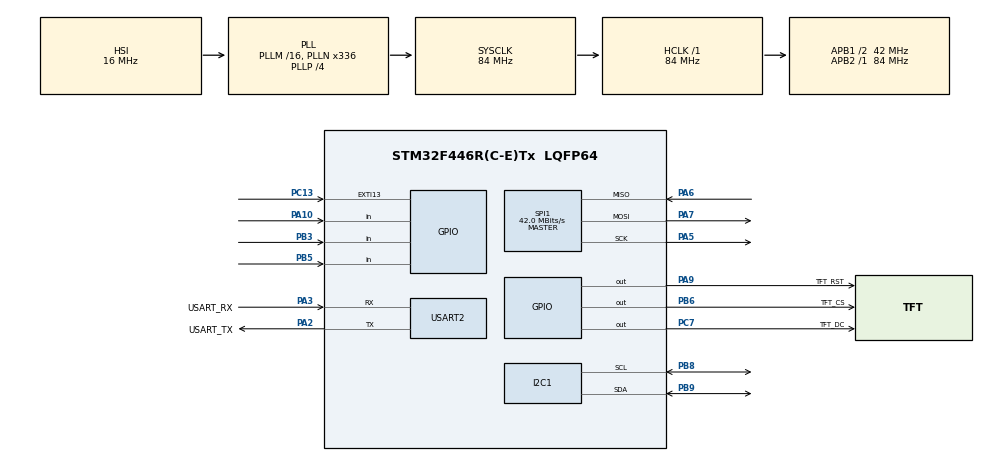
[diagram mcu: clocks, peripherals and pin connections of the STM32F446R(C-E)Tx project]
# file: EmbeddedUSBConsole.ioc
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Mcu.Family=STM32F4
Mcu.Name=STM32F446R(C-E)Tx
Mcu.Package=LQFP64
NUCLEO-F446RE.BUTTON=1
NUCLEO-F446RE.LD1=false
NVIC.EXTI15_10_IRQn=true\:0\:0\:false\:false\:true\:false\:true\:true
NVIC.PriorityGroup=NVIC_PRIORITYGROUP_0
NVIC.USART2_IRQn=true\:0\:0\:false\:false\:true\:true\:true\:true
PA10.GPIO_PuPd=GPIO_PULLUP
PA10.Signal=GPIO_Input
PA13.GPIO_Label=TMS
PA13.Signal=SYS_JTMS-SWDIO
PA14.GPIO_Label=TCK
PA14.Signal=SYS_JTCK-SWCLK
PA2.GPIO_Label=USART_TX
PA2.Mode=Asynchronous
PA2.Signal=USART2_TX
PA3.GPIO_Label=USART_RX
PA3.Mode=Asynchronous
PA3.Signal=USART2_RX
PA5.Mode=Full_Duplex_Master
PA5.Signal=SPI1_SCK
PA6.Mode=Full_Duplex_Master
PA6.Signal=SPI1_MISO
PA7.Mode=Full_Duplex_Master
PA7.Signal=SPI1_MOSI
PA9.GPIO_Label=TFT_RST
PA9.PinState=GPIO_PIN_SET
PA9.Signal=GPIO_Output
PB3.GPIO_PuPd=GPIO_PULLUP
PB3.Signal=GPIO_Input
PB5.GPIO_PuPd=GPIO_PULLUP
PB5.Signal=GPIO_Input
PB6.GPIO_Label=TFT_CS
PB6.PinState=GPIO_PIN_SET
PB6.Signal=GPIO_Output
PB8.Mode=I2C
PB8.Signal=I2C1_SCL
PB9.Mode=I2C
PB9.Signal=I2C1_SDA
PC13.Signal=GPXTI13
PC14-OSC32_IN.Signal=RCC_OSC32_IN
PC15-OSC32_OUT.Signal=RCC_OSC32_OUT
PC7.GPIO_Label=TFT_DC
PC7.PinState=GPIO_PIN_RESET
PC7.Signal=GPIO_Output
PH0-OSC_IN.Signal=RCC_OSC_IN
PH1-OSC_OUT.Signal=RCC_OSC_OUT
ProjectManager.HeapSize=0x200
ProjectManager.StackSize=0x400
ProjectManager.TargetToolchain=STM32CubeIDE
RCC.AHBFreq_Value=84000000
RCC.APB1CLKDivider=RCC_HCLK_DIV2
RCC.APB1Freq_Value=42000000
RCC.APB1TimFreq_Value=84000000
RCC.APB2Freq_Value=84000000
RCC.APB2TimFreq_Value=84000000
RCC.CortexFreq_Value=84000000
RCC.FLatency-AdvancedSettings=FLASH_LATENCY_2
RCC.HCLKFreq_Value=84000000
RCC.HSE_VALUE=8000000
RCC.HSI_VALUE=16000000
RCC.LSE_VALUE=32768
RCC.PLLN=336
RCC.PLLP=RCC_PLLP_DIV4
RCC.SYSCLKFreq_VALUE=84000000
RCC.SYSCLKSource=RCC_SYSCLKSOURCE_PLLCLK
RCC.USBFreq_Value=168000000
RCC.VCOOutputFreq_Value=336000000
SPI1.CalculateBaudRate=42.0 MBits/s
SPI1.Direction=SPI_DIRECTION_2LINES
SPI1.Mode=SPI_MODE_MASTER
SPI1.VirtualType=VM_MASTER
USART2.VirtualMode=VM_ASYNC
VP_NUCLEO-F446RE_VS_BSP_COMMON.Mode=COMMON
board=NUCLEO-F446RE

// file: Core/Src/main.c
/* USER CODE BEGIN Header */
/**
  ******************************************************************************
  * @file           : main.c
  * @brief          : Main program body
  ******************************************************************************
  * @attention
  *
  * Copyright (c) 2026 STMicroelectronics.
  * All rights reserved.
  *
  * This software is licensed under terms that can be found in the LICENSE file
  * in the root directory of this software component.
  * If no LICENSE file comes with this software, it is provided AS-IS.
  *
  ******************************************************************************
  */
/* USER CODE END Header */
#include "main.h"

/* USER CODE BEGIN Includes */
#include "ili9341.h"
#include "bmp180.h"
#include "sunset_img.h"
#include <string.h>
#include <stdlib.h>
#include <stdio.h>
/* USER CODE END Includes */

/* USER CODE BEGIN PTD */

/* Every screen the app can be on. Add more here as the project grows
 * (e.g. SCREEN_BOOT, SCREEN_ANIMATION, SCREEN_NOTIFICATIONS...). */
typedef enum
{
    SCREEN_MENU,
    SCREEN_APPLICATIONS,
    SCREEN_ENVIRONMENT,
    SCREEN_COMPUTER,
	SCREEN_ABOUT
} AppScreen_t;

/* One row in the menu: the title(unchangeable) + what bg screen it goes to */
typedef struct
{
    const char *label;
    AppScreen_t targetScreen;
} MenuItem_t;

/* USER CODE END PTD */

/* USER CODE BEGIN PD */

#define MENU_START_Y   60 //Names constants for layout
#define MENU_ROW_H     28
#define MENU_ARROW_X   16
#define MENU_LABEL_X   40
#define MENU_TEXT_SCALE 2

/* USER CODE END PD */

I2C_HandleTypeDef hi2c1;

SPI_HandleTypeDef hspi1;

UART_HandleTypeDef huart2;

/* USER CODE BEGIN PV */

volatile uint32_t tft_debug_step = 0;
volatile HAL_StatusTypeDef tft_spi_status = HAL_OK;

uint8_t lastCLKState;

static const MenuItem_t menuItems[] =
{
	{ "DEV TOOLS", SCREEN_APPLICATIONS },
	{ "ENVIRONMENT",  SCREEN_ENVIRONMENT  },
	{ "COMPUTER",     SCREEN_COMPUTER     },
    { "ABOUT",     SCREEN_ABOUT     },
};
#define MENU_ITEM_COUNT (sizeof(menuItems) / sizeof(menuItems[0]))

static volatile AppScreen_t currentScreen = SCREEN_MENU;
static volatile uint8_t needsFullRedraw = 1;   /* screen changed entirely   */
static volatile uint8_t menuCursorMoved = 0;   /* only the cursor moved    */
static uint8_t menuCursor = 0;
static uint8_t previousMenuCursor = 0;

#define UART_LINE_MAX 32 //UART Computer globals

uint8_t uartRxByte;
char uartLineBuf[UART_LINE_MAX];
uint8_t uartLineIdx = 0;

volatile char uartLineComplete[UART_LINE_MAX];
volatile uint8_t uartLineReady = 0;

typedef struct
{
    int cpu;
    int ram;
} ComputerStats_t;

volatile ComputerStats_t computerStats = { 0, 0 };
volatile uint8_t computerNeedsUpdate = 0;

typedef enum { APP_BUILD, APP_FLASH, APP_OPEN_CODE, APP_GIT_STATUS, APP_COUNT } AppChoice_t;

static const char *appLabels[APP_COUNT] = { "BUILD", "FLASH", "OPEN CODE", "GIT STATUS" };
static const char *appCommands[APP_COUNT] = { "ACTION:BUILD\n", "ACTION:FLASH\n", "ACTION:OPEN_CODE\n", "ACTION:GIT_STATUS\n" };

#define APPS_START_Y 60
#define APPS_ROW_H   28
#define APPS_ARROW_X 16
#define APPS_LABEL_X 40

uint8_t appsCursor = 0;
uint8_t previousAppsCursor = 0;
volatile uint8_t appsCursorMoved = 0;

static float envTemperature = 0.0f;
static float envPressure = 0.0f;
static uint8_t envSensorOk = 0;

/* USER CODE END PV */

void SystemClock_Config(void);
static void MX_GPIO_Init(void);
static void MX_SPI1_Init(void);
static void MX_USART2_UART_Init(void);
static void MX_I2C1_Init(void);
/* USER CODE BEGIN PFP */

static void DrawMenuArrow(uint8_t index, uint8_t show);
static void RenderMenuScreen(void);
static void RenderPlaceholderScreen(const char *title);
static void RenderCurrentScreen(void);
static void RenderComputerScreen(void);
static void UpdateComputerValues(void);
static void ParseUartLine(const char *line);

static void DrawAppsArrow(uint8_t index, uint8_t show);
static void RenderApplicationsScreen(void);
static void RenderEnvironmentScreen(void);
static void SendUartCommand(const char *cmd);

/* USER CODE END PFP */

/* USER CODE BEGIN 0 */

/* Draws or erases the ">" cursor next to menu item `index`.
 * show=1 draws the arrow, show=0 draws a blank space over it instead
 * (this is how we "erase" the old arrow position without touching
 * anything else on screen). */
static void DrawMenuArrow(uint8_t index, uint8_t show)
{
    uint16_t y = MENU_START_Y + (index * MENU_ROW_H);
    char glyph = show ? '>' : ' ';

    ILI9341_DrawChar(MENU_ARROW_X, y, glyph, ILI9341_YELLOW, ILI9341_BLACK, MENU_TEXT_SCALE);
}

/* Full redraw of the menu screen: background image, every label, and
 * the arrow at whatever menuCursor currently is. Only called when we
 * just switched INTO the menu screen -- not on every cursor move,
 * since that would repaint the whole background every time you turn
 * the knob and cause visible flicker. */
static void RenderMenuScreen(void)
{
    ILI9341_DrawImageUpscaled2x(sunset_img, sunset_img_WIDTH, sunset_img_HEIGHT);

    for (uint8_t i = 0; i < MENU_ITEM_COUNT; i++)
    {
        uint16_t y = MENU_START_Y + (i * MENU_ROW_H);
        ILI9341_DrawString(MENU_LABEL_X, y, menuItems[i].label, ILI9341_WHITE, ILI9341_BLACK, MENU_TEXT_SCALE);
    }

    DrawMenuArrow(menuCursor, 1);
    previousMenuCursor = menuCursor;
}

/* Placeholder for the screens the menu leads to. Replace this with
 * real dashboard/settings/about rendering later -- for now it just
 * proves the state machine + navigation actually works end to end. */
static void RenderPlaceholderScreen(const char *title)
{
    ILI9341_FillScreen(ILI9341_BLACK);
    ILI9341_DrawString(20, 20, title, ILI9341_WHITE, ILI9341_BLACK, MENU_TEXT_SCALE);
    ILI9341_DrawString(20, 60, "PRESS USER BTN", ILI9341_GRAY, ILI9341_BLACK, 1);
    ILI9341_DrawString(20, 75, "TO GO BACK", ILI9341_GRAY, ILI9341_BLACK, 1);
}

/* Draws `text`, automatically breaking it into multiple lines so it
 * never runs off the right edge of the screen. Breaks at the last
 * space before the line limit, so it doesn't cut words in half. */
static void DrawWrappedText(uint16_t x, uint16_t y, uint16_t lineHeight,
                             const char *text, uint16_t fgColor, uint16_t bgColor,
                             uint8_t scale, uint8_t maxCharsPerLine)
{
    char lineBuf[40];
    uint16_t curY = y;
    const char *p = text;

    while (*p)
    {
        const char *scan = p;
        const char *lastSpace = NULL;
        uint8_t lineLen = 0;

        while (*scan && lineLen < maxCharsPerLine)
        {
            if (*scan == ' ') lastSpace = scan;
            scan++;
            lineLen++;
        }

        const char *lineEnd;
        if (*scan == '\0')       lineEnd = scan;
        else if (lastSpace)      lineEnd = lastSpace;
        else                     lineEnd = scan;

        uint8_t copyLen = (uint8_t)(lineEnd - p);
        if (copyLen > sizeof(lineBuf) - 1) copyLen = sizeof(lineBuf) - 1;
        memcpy(lineBuf, p, copyLen);
        lineBuf[copyLen] = '\0';

        ILI9341_DrawString(x, curY, lineBuf, fgColor, bgColor, scale);
        curY += lineHeight;

        p = (*lineEnd == ' ') ? lineEnd + 1 : lineEnd;
    }
}

static void RenderAboutScreen(void)
{
    ILI9341_FillScreen(ILI9341_BLACK);
    ILI9341_DrawString(20, 20, "ABOUT", ILI9341_YELLOW, ILI9341_BLACK, 2);

    DrawWrappedText(10, 55, 12,
        "This project is an Embedded USB console, it allows you to "
        "control your applications, see your computers data, and "
        "get environment data. Hope you like it!",
        ILI9341_WHITE, ILI9341_BLACK, 1, 27);

    ILI9341_DrawString(10, 290, "PRESS USER BTN TO GO BACK", ILI9341_GRAY, ILI9341_BLACK, 1);
}

static void SendUartCommand(const char *cmd)
{
    HAL_UART_Transmit(&huart2, (uint8_t *)cmd, strlen(cmd), HAL_MAX_DELAY);
}

static void DrawAppsArrow(uint8_t index, uint8_t show)
{
    uint16_t y = APPS_START_Y + (index * APPS_ROW_H);
    char glyph = show ? '>' : ' ';
    ILI9341_DrawChar(APPS_ARROW_X, y, glyph, ILI9341_YELLOW, ILI9341_BLACK, MENU_TEXT_SCALE);
}

static void RenderApplicationsScreen(void)
{
    ILI9341_FillScreen(ILI9341_BLACK);
    ILI9341_DrawString(20, 20, "DEV TOOLS", ILI9341_YELLOW, ILI9341_BLACK, 2);

    for (uint8_t i = 0; i < APP_COUNT; i++)
    {
        uint16_t y = APPS_START_Y + (i * APPS_ROW_H);
        ILI9341_DrawString(APPS_LABEL_X, y, appLabels[i], ILI9341_WHITE, ILI9341_BLACK, MENU_TEXT_SCALE);
    }

    DrawAppsArrow(appsCursor, 1);
    previousAppsCursor = appsCursor;

    ILI9341_DrawString(10, 290, "PRESS USER BTN TO GO BACK", ILI9341_GRAY, ILI9341_BLACK, 1);
}

/* Called once per loop iteration. Decides whether anything actually
 * needs to be drawn this pass, and if so, draws the minimum necessary
 * -- a full redraw on screen change, or just the arrow on cursor move. */
static void RenderCurrentScreen(void)
{
    if (needsFullRedraw)
    {
        switch (currentScreen)
        {

        case SCREEN_MENU: //Updated Menu
            RenderMenuScreen();
            break;
        case SCREEN_APPLICATIONS:
            RenderApplicationsScreen();
            break;
        case SCREEN_ENVIRONMENT:
            RenderEnvironmentScreen();
            break;
        case SCREEN_COMPUTER:
        	RenderComputerScreen();
        	break;
        case SCREEN_ABOUT:
            RenderAboutScreen();
            break;
        }
        needsFullRedraw = 0;
        menuCursorMoved = 0;
    }
    else if (menuCursorMoved && currentScreen == SCREEN_MENU)
    {
        DrawMenuArrow(previousMenuCursor, 0);
        DrawMenuArrow(menuCursor, 1);
        previousMenuCursor = menuCursor;
        menuCursorMoved = 0;
    }

    else if (computerNeedsUpdate && currentScreen == SCREEN_COMPUTER)
    {
        UpdateComputerValues();
        computerNeedsUpdate = 0;
    }

//add one of these for each menu screen
    else if (appsCursorMoved && currentScreen == SCREEN_APPLICATIONS)
    {
        DrawAppsArrow(previousAppsCursor, 0);
        DrawAppsArrow(appsCursor, 1);
        previousAppsCursor = appsCursor;
        appsCursorMoved = 0;
    }
}

static void ParseUartLine(const char *line)
{
    if (strncmp(line, "CPU:", 4) == 0)
    {
        computerStats.cpu = atoi(line + 4);
        computerNeedsUpdate = 1;
    }
    else if (strncmp(line, "RAM:", 4) == 0)
    {
        computerStats.ram = atoi(line + 4);
        computerNeedsUpdate = 1;
    }
}

//Displays real time CPU and RAM data
static void UpdateComputerValues(void)
{
    char buf[20];

    snprintf(buf, sizeof(buf), "CPU: %3d%%", computerStats.cpu);
    ILI9341_DrawString(20, 60, buf, ILI9341_WHITE, ILI9341_BLACK, 2);

    snprintf(buf, sizeof(buf), "RAM: %3d%%", computerStats.ram);
    ILI9341_DrawString(20, 90, buf, ILI9341_WHITE, ILI9341_BLACK, 2);
}

static void RenderComputerScreen(void)
{
    ILI9341_FillScreen(ILI9341_BLACK);
    ILI9341_DrawString(20, 20, "COMPUTER", ILI9341_YELLOW, ILI9341_BLACK, 2);
    UpdateComputerValues();
    ILI9341_DrawString(10, 290, "PRESS USER BTN TO GO BACK", ILI9341_GRAY, ILI9341_BLACK, 1);
}

static void RenderEnvironmentScreen(void)
{
    ILI9341_FillScreen(ILI9341_BLACK);

    ILI9341_DrawString(
        20, 20,
        "ENVIRONMENT",
        ILI9341_YELLOW,
        ILI9341_BLACK,
        2
    );

    char buf[24];

    /* Initialization already failed at startup */
    if (!envSensorOk)
    {
        ILI9341_DrawString(
            20, 60,
            "BMP180 NO ACK",
            ILI9341_RED,
            ILI9341_BLACK,
            2
        );

        ILI9341_DrawString(
            10, 290,
            "PRESS USER BTN TO GO BACK",
            ILI9341_GRAY,
            ILI9341_BLACK,
            1
        );

        return;
    }

    HAL_StatusTypeDef status =
        BMP180_ReadData(&envTemperature, &envPressure);

    if (status == HAL_OK)
    {
        snprintf(
            buf,
            sizeof(buf),
            "TEMP: %.1f C",
            envTemperature
        );

        ILI9341_DrawString(
            20, 60,
            buf,
            ILI9341_WHITE,
            ILI9341_BLACK,
            2
        );

        snprintf(
            buf,
            sizeof(buf),
            "PRES: %.0f Pa",
            envPressure
        );

        ILI9341_DrawString(
            20, 90,
            buf,
            ILI9341_WHITE,
            ILI9341_BLACK,
            2
        );
    }
    else
    {
        ILI9341_DrawString(
            20, 60,
            "BMP180 READ ERROR",
            ILI9341_RED,
            ILI9341_BLACK,
            2
        );
    }

    ILI9341_DrawString(
        10, 290,
        "PRESS USER BTN TO GO BACK",
        ILI9341_GRAY,
        ILI9341_BLACK,
        1
    );
}
/* USER CODE END 0 */

int main(void)
{

  /* MCU Configuration--------------------------------------------------------*/

  /* Reset of all peripherals, Initializes the Flash interface and the Systick. */
  HAL_Init();

  /* Configure the system clock */
  SystemClock_Config();

  /* Initialize all configured peripherals */
  MX_GPIO_Init();
  MX_SPI1_Init();
  MX_USART2_UART_Init();
  MX_I2C1_Init();
  /* USER CODE BEGIN 2 */

  lastCLKState = HAL_GPIO_ReadPin(GPIOA, GPIO_PIN_10);

  HAL_UART_Receive_IT(&huart2, &uartRxByte, 1);

  tft_debug_step = 1;
  ILI9341_Init();
  //MX_I2C1_Init();
  tft_debug_step = 2;

  envSensorOk = (BMP180_Init() == HAL_OK);

  /* USER CODE END 2 */

  /* Initialize USER push-button, will be used to trigger an interrupt each time it's pressed.*/
  BSP_PB_Init(BUTTON_USER, BUTTON_MODE_EXTI);

  /* Infinite loop */
  /* USER CODE BEGIN WHILE */

  while (1)
  {
    uint8_t currentCLKState =
        HAL_GPIO_ReadPin(GPIOA, GPIO_PIN_10);

    /* Detect encoder rotation */
    if (currentCLKState != lastCLKState)
    {
      if (currentCLKState == GPIO_PIN_RESET)
      {
        if (currentScreen == SCREEN_MENU)
        {
          if (HAL_GPIO_ReadPin(GPIOB, GPIO_PIN_3) != currentCLKState)
          {
            /* Clockwise -> move cursor down */
            if (menuCursor < MENU_ITEM_COUNT - 1)
            {
              menuCursor++;
              menuCursorMoved = 1;
            }
          }
          else
          {
            /* Counter-clockwise -> move cursor up */
            if (menuCursor > 0)
            {
              menuCursor--;
              menuCursorMoved = 1;
            }
          }
        }

        else if (currentScreen == SCREEN_APPLICATIONS)
        {
            if (HAL_GPIO_ReadPin(GPIOB, GPIO_PIN_3) != currentCLKState)
            {
                if (appsCursor < APP_COUNT - 1)
                {
                    appsCursor++;
                    appsCursorMoved = 1;
                }
            }
            else
            {
                if (appsCursor > 0)
                {
                    appsCursor--;
                    appsCursorMoved = 1;
                }
            }
        }

      }

      lastCLKState = currentCLKState;
    }

    /* Detect encoder button press -> select current menu item */
    if (HAL_GPIO_ReadPin(GPIOB, GPIO_PIN_5) == GPIO_PIN_RESET)
    {
      HAL_Delay(20);

      if (HAL_GPIO_ReadPin(GPIOB, GPIO_PIN_5) == GPIO_PIN_RESET)
      {
        if (currentScreen == SCREEN_MENU)
        {
          currentScreen = menuItems[menuCursor].targetScreen;
          needsFullRedraw = 1;
        }

        else if (currentScreen == SCREEN_APPLICATIONS)
        {
            SendUartCommand(appCommands[appsCursor]);
        }

        while (HAL_GPIO_ReadPin(GPIOB, GPIO_PIN_5) == GPIO_PIN_RESET)
        {
          /* Wait for release */
        }

        HAL_Delay(20);
      }
    }

    if (uartLineReady)
    {
        ParseUartLine((const char *)uartLineComplete);
        uartLineReady = 0;
    }
    /* Draw whatever actually changed this pass, if anything did */
    RenderCurrentScreen();

    /* USER CODE END WHILE */

  }
}

void SystemClock_Config(void)
{
  RCC_OscInitTypeDef RCC_OscInitStruct = {0};
  RCC_ClkInitTypeDef RCC_ClkInitStruct = {0};

  /** Configure the main internal regulator output voltage
  */
  __HAL_RCC_PWR_CLK_ENABLE();
  __HAL_PWR_VOLTAGESCALING_CONFIG(PWR_REGULATOR_VOLTAGE_SCALE3);

  /** Initializes the RCC Oscillators according to the specified parameters
  * in the RCC_OscInitTypeDef structure.
  */
  RCC_OscInitStruct.OscillatorType = RCC_OSCILLATORTYPE_HSI;
  RCC_OscInitStruct.HSIState = RCC_HSI_ON;
  RCC_OscInitStruct.HSICalibrationValue = RCC_HSICALIBRATION_DEFAULT;
  RCC_OscInitStruct.PLL.PLLState = RCC_PLL_ON;
  RCC_OscInitStruct.PLL.PLLSource = RCC_PLLSOURCE_HSI;
  RCC_OscInitStruct.PLL.PLLM = 16;
  RCC_OscInitStruct.PLL.PLLN = 336;
  RCC_OscInitStruct.PLL.PLLP = RCC_PLLP_DIV4;
  RCC_OscInitStruct.PLL.PLLQ = 2;
  RCC_OscInitStruct.PLL.PLLR = 2;
  if (HAL_RCC_OscConfig(&RCC_OscInitStruct) != HAL_OK)
  {
    Error_Handler();
  }

  /** Initializes the CPU, AHB and APB buses clocks
  */
  RCC_ClkInitStruct.ClockType = RCC_CLOCKTYPE_HCLK|RCC_CLOCKTYPE_SYSCLK
                              |RCC_CLOCKTYPE_PCLK1|RCC_CLOCKTYPE_PCLK2;
  RCC_ClkInitStruct.SYSCLKSource = RCC_SYSCLKSOURCE_PLLCLK;
  RCC_ClkInitStruct.AHBCLKDivider = RCC_SYSCLK_DIV1;
  RCC_ClkInitStruct.APB1CLKDivider = RCC_HCLK_DIV2;
  RCC_ClkInitStruct.APB2CLKDivider = RCC_HCLK_DIV1;

  if (HAL_RCC_ClockConfig(&RCC_ClkInitStruct, FLASH_LATENCY_2) != HAL_OK)
  {
    Error_Handler();
  }
}

static void MX_I2C1_Init(void)
{

  hi2c1.Instance = I2C1;
  hi2c1.Init.ClockSpeed = 100000;
  hi2c1.Init.DutyCycle = I2C_DUTYCYCLE_2;
  hi2c1.Init.OwnAddress1 = 0;
  hi2c1.Init.AddressingMode = I2C_ADDRESSINGMODE_7BIT;
  hi2c1.Init.DualAddressMode = I2C_DUALADDRESS_DISABLE;
  hi2c1.Init.OwnAddress2 = 0;
  hi2c1.Init.GeneralCallMode = I2C_GENERALCALL_DISABLE;
  hi2c1.Init.NoStretchMode = I2C_NOSTRETCH_DISABLE;
  if (HAL_I2C_Init(&hi2c1) != HAL_OK)
  {
    Error_Handler();
  }

}

static void MX_SPI1_Init(void)
{

  /* SPI1 parameter configuration*/
  hspi1.Instance = SPI1;
  hspi1.Init.Mode = SPI_MODE_MASTER;
  hspi1.Init.Direction = SPI_DIRECTION_2LINES;
  hspi1.Init.DataSize = SPI_DATASIZE_8BIT;
  hspi1.Init.CLKPolarity = SPI_POLARITY_LOW;
  hspi1.Init.CLKPhase = SPI_PHASE_1EDGE;
  hspi1.Init.NSS = SPI_NSS_SOFT;
  hspi1.Init.BaudRatePrescaler = SPI_BAUDRATEPRESCALER_2;
  hspi1.Init.FirstBit = SPI_FIRSTBIT_MSB;
  hspi1.Init.TIMode = SPI_TIMODE_DISABLE;
  hspi1.Init.CRCCalculation = SPI_CRCCALCULATION_DISABLE;
  hspi1.Init.CRCPolynomial = 10;
  if (HAL_SPI_Init(&hspi1) != HAL_OK)
  {
    Error_Handler();
  }

}

static void MX_USART2_UART_Init(void)
{

  huart2.Instance = USART2;
  huart2.Init.BaudRate = 115200;
  huart2.Init.WordLength = UART_WORDLENGTH_8B;
  huart2.Init.StopBits = UART_STOPBITS_1;
  huart2.Init.Parity = UART_PARITY_NONE;
  huart2.Init.Mode = UART_MODE_TX_RX;
  huart2.Init.HwFlowCtl = UART_HWCONTROL_NONE;
  huart2.Init.OverSampling = UART_OVERSAMPLING_16;
  if (HAL_UART_Init(&huart2) != HAL_OK)
  {
    Error_Handler();
  }

}

static void MX_GPIO_Init(void)
{
  GPIO_InitTypeDef GPIO_InitStruct = {0};

  /* GPIO Ports Clock Enable */
  __HAL_RCC_GPIOC_CLK_ENABLE();
  __HAL_RCC_GPIOH_CLK_ENABLE();
  __HAL_RCC_GPIOA_CLK_ENABLE();
  __HAL_RCC_GPIOB_CLK_ENABLE();

  /*Configure GPIO pin Output Level */
  HAL_GPIO_WritePin(TFT_DC_GPIO_Port, TFT_DC_Pin, GPIO_PIN_RESET);

  /*Configure GPIO pin Output Level */
  HAL_GPIO_WritePin(TFT_RST_GPIO_Port, TFT_RST_Pin, GPIO_PIN_SET);

  /*Configure GPIO pin Output Level */
  HAL_GPIO_WritePin(TFT_CS_GPIO_Port, TFT_CS_Pin, GPIO_PIN_SET);

  /*Configure GPIO pin : TFT_DC_Pin */
  GPIO_InitStruct.Pin = TFT_DC_Pin;
  GPIO_InitStruct.Mode = GPIO_MODE_OUTPUT_PP;
  GPIO_InitStruct.Pull = GPIO_NOPULL;
  GPIO_InitStruct.Speed = GPIO_SPEED_FREQ_LOW;
  HAL_GPIO_Init(TFT_DC_GPIO_Port, &GPIO_InitStruct);

  /*Configure GPIO pin : TFT_RST_Pin */
  GPIO_InitStruct.Pin = TFT_RST_Pin;
  GPIO_InitStruct.Mode = GPIO_MODE_OUTPUT_PP;
  GPIO_InitStruct.Pull = GPIO_NOPULL;
  GPIO_InitStruct.Speed = GPIO_SPEED_FREQ_LOW;
  HAL_GPIO_Init(TFT_RST_GPIO_Port, &GPIO_InitStruct);

  /*Configure GPIO pin : PA10 */
  GPIO_InitStruct.Pin = GPIO_PIN_10;
  GPIO_InitStruct.Mode = GPIO_MODE_INPUT;
  GPIO_InitStruct.Pull = GPIO_PULLUP;
  HAL_GPIO_Init(GPIOA, &GPIO_InitStruct);

  /*Configure GPIO pins : PB3 PB5 */
  GPIO_InitStruct.Pin = GPIO_PIN_3|GPIO_PIN_5;
  GPIO_InitStruct.Mode = GPIO_MODE_INPUT;
  GPIO_InitStruct.Pull = GPIO_PULLUP;
  HAL_GPIO_Init(GPIOB, &GPIO_InitStruct);

  /*Configure GPIO pin : TFT_CS_Pin */
  GPIO_InitStruct.Pin = TFT_CS_Pin;
  GPIO_InitStruct.Mode = GPIO_MODE_OUTPUT_PP;
  GPIO_InitStruct.Pull = GPIO_NOPULL;
  GPIO_InitStruct.Speed = GPIO_SPEED_FREQ_LOW;
  HAL_GPIO_Init(TFT_CS_GPIO_Port, &GPIO_InitStruct);

}

/* USER CODE BEGIN 4 */

/* This overrides a "weak" (default, do-nothing) function that the HAL
 * calls automatically whenever ANY EXTI-configured pin interrupts --
 * including the Nucleo's onboard USER button, which we set up above
 * with BSP_PB_Init(..., BUTTON_MODE_EXTI). We use it here as a
 * universal "back to menu" button from any screen. */
void HAL_GPIO_EXTI_Callback(uint16_t GPIO_Pin)
{
  if (GPIO_Pin == USER_BUTTON_PIN)
  {
    if (currentScreen != SCREEN_MENU)
    {
      currentScreen = SCREEN_MENU;
      needsFullRedraw = 1;
    }
  }
}

void HAL_UART_RxCpltCallback(UART_HandleTypeDef *huart)
{
    if (huart->Instance == USART2)
    {
        if (uartRxByte == '\n')
        {
            uartLineBuf[uartLineIdx] = '\0';
            strncpy((char *)uartLineComplete, uartLineBuf, UART_LINE_MAX);
            uartLineReady = 1;
            uartLineIdx = 0;
        }
        else if (uartRxByte != '\r' && uartLineIdx < UART_LINE_MAX - 1)
        {
            uartLineBuf[uartLineIdx++] = uartRxByte;
        }

        HAL_UART_Receive_IT(&huart2, &uartRxByte, 1);
    }
}

/* USER CODE END 4 */

void Error_Handler(void)
{
  __disable_irq();
  while (1)
  {
  }
}
